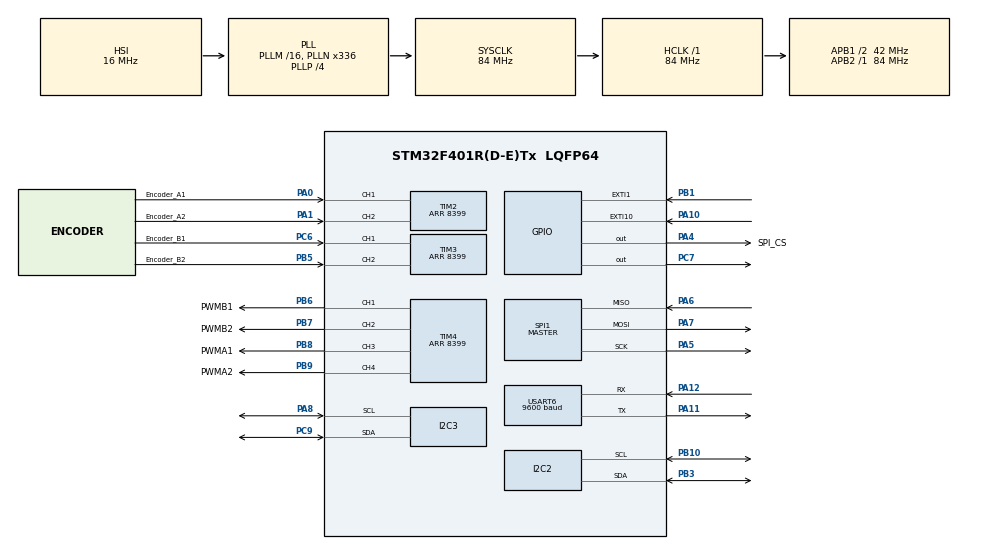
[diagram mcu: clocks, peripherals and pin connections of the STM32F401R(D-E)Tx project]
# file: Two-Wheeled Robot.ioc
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Mcu.Family=STM32F4
Mcu.Name=STM32F401R(D-E)Tx
Mcu.Package=LQFP64
NVIC.EXTI15_10_IRQn=true\:0\:0\:false\:false\:true\:true\:true\:true
NVIC.EXTI1_IRQn=true\:0\:0\:false\:false\:true\:true\:true\:true
NVIC.PriorityGroup=NVIC_PRIORITYGROUP_4
NVIC.TIM1_UP_TIM10_IRQn=true\:0\:0\:false\:false\:true\:true\:true\:true
NVIC.USART6_IRQn=true\:0\:0\:false\:false\:true\:true\:true\:true
PA0-WKUP.GPIO_Label=Encoder_A1
PA0-WKUP.Signal=S_TIM2_CH1_ETR
PA1.GPIO_Label=Encoder_A2
PA1.Signal=S_TIM2_CH2
PA10.GPIO_ModeDefaultEXTI=GPIO_MODE_IT_FALLING
PA10.Signal=GPXTI10
PA11.Mode=Asynchronous
PA11.Signal=USART6_TX
PA12.Mode=Asynchronous
PA12.Signal=USART6_RX
PA13.Mode=Serial_Wire
PA13.Signal=SYS_JTMS-SWDIO
PA14.Mode=Serial_Wire
PA14.Signal=SYS_JTCK-SWCLK
PA4.GPIO_Label=SPI_CS
PA4.Signal=GPIO_Output
PA5.Mode=Full_Duplex_Master
PA5.Signal=SPI1_SCK
PA6.Mode=Full_Duplex_Master
PA6.Signal=SPI1_MISO
PA7.Mode=Full_Duplex_Master
PA7.Signal=SPI1_MOSI
PA8.Mode=I2C
PA8.Signal=I2C3_SCL
PB1.GPIO_ModeDefaultEXTI=GPIO_MODE_IT_FALLING
PB1.Signal=GPXTI1
PB10.Mode=I2C
PB10.Signal=I2C2_SCL
PB3.Mode=I2C
PB3.Signal=I2C2_SDA
PB5.GPIO_Label=Encoder_B2
PB5.Signal=S_TIM3_CH2
PB6.GPIO_Label=PWMB1
PB6.Signal=S_TIM4_CH1
PB7.GPIO_Label=PWMB2
PB7.Signal=S_TIM4_CH2
PB8.GPIO_Label=PWMA1
PB8.Signal=S_TIM4_CH3
PB9.GPIO_Label=PWMA2
PB9.Signal=S_TIM4_CH4
PC14-OSC32_IN.Mode=LSE-External-Oscillator
PC14-OSC32_IN.Signal=RCC_OSC32_IN
PC15-OSC32_OUT.Mode=LSE-External-Oscillator
PC15-OSC32_OUT.Signal=RCC_OSC32_OUT
PC6.GPIO_Label=Encoder_B1
PC6.Signal=S_TIM3_CH1
PC7.Signal=GPIO_Output
PC9.Mode=I2C
PC9.Signal=I2C3_SDA
ProjectManager.HeapSize=0x200
ProjectManager.StackSize=0x400
ProjectManager.TargetToolchain=STM32CubeIDE
RCC.48MHZClocksFreq_Value=84000000
RCC.AHBFreq_Value=84000000
RCC.APB1CLKDivider=RCC_HCLK_DIV2
RCC.APB1Freq_Value=42000000
RCC.APB1TimFreq_Value=84000000
RCC.APB2Freq_Value=84000000
RCC.APB2TimFreq_Value=84000000
RCC.CortexFreq_Value=84000000
RCC.HCLKFreq_Value=84000000
RCC.HSE_VALUE=25000000
RCC.HSI_VALUE=16000000
RCC.PLLN=336
RCC.PLLP=RCC_PLLP_DIV4
RCC.SYSCLKFreq_VALUE=84000000
RCC.SYSCLKSource=RCC_SYSCLKSOURCE_PLLCLK
RCC.VCOOutputFreq_Value=336000000
SH.S_TIM2_CH1_ETR.0=TIM2_CH1,Encoder_Interface
SH.S_TIM2_CH2.0=TIM2_CH2,Encoder_Interface
SH.S_TIM3_CH1.0=TIM3_CH1,Encoder_Interface
SH.S_TIM3_CH2.0=TIM3_CH2,Encoder_Interface
SH.S_TIM4_CH1.0=TIM4_CH1,PWM Generation1 CH1
SH.S_TIM4_CH2.0=TIM4_CH2,PWM Generation2 CH2
SH.S_TIM4_CH3.0=TIM4_CH3,PWM Generation3 CH3
SH.S_TIM4_CH4.0=TIM4_CH4,PWM Generation4 CH4
SPI1.BaudRatePrescaler=SPI_BAUDRATEPRESCALER_128
SPI1.CLKPhase=SPI_PHASE_2EDGE
SPI1.CLKPolarity=SPI_POLARITY_HIGH
SPI1.CRCCalculation=SPI_CRCCALCULATION_DISABLE
SPI1.Direction=SPI_DIRECTION_2LINES
SPI1.Mode=SPI_MODE_MASTER
SPI1.VirtualType=VM_MASTER
TIM1.Channel-PWM\ Generation1\ CH1=TIM_CHANNEL_1
TIM1.Period=999
TIM1.Prescaler=84-1
TIM2.EncoderMode=TIM_ENCODERMODE_TI12
TIM2.Period=8399
TIM3.Channel-PWM\ Generation3\ CH3=TIM_CHANNEL_3
TIM3.EncoderMode=TIM_ENCODERMODE_TI12
TIM3.Period=8399
TIM4.Channel-PWM\ Generation1\ CH1=TIM_CHANNEL_1
TIM4.Channel-PWM\ Generation2\ CH2=TIM_CHANNEL_2
TIM4.Channel-PWM\ Generation3\ CH3=TIM_CHANNEL_3
TIM4.Channel-PWM\ Generation4\ CH4=TIM_CHANNEL_4
TIM4.Period=8399
USART6.BaudRate=9600
USART6.VirtualMode=VM_ASYNC
VP_TIM1_VS_ClockSourceINT.Mode=Internal
VP_TIM4_VS_ClockSourceINT.Mode=Internal
board=custom

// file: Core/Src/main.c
/* USER CODE BEGIN Header */
/**
  ******************************************************************************
  * @file           : main.c
  * @brief          : Main program body
  ******************************************************************************
  * @attention
  *
  * Copyright (c) 2025 STMicroelectronics.
  * All rights reserved.
  *
  * This software is licensed under terms that can be found in the LICENSE file
  * in the root directory of this software component.
  * If no LICENSE file comes with this software, it is provided AS-IS.
  *
  ******************************************************************************
  */
/* USER CODE END Header */
#include "main.h"

/* USER CODE BEGIN Includes */
#include "math.h"
#include "string.h"
#include "stdio.h"
#include "ssd1306.h"
#include "motor_driver.h"
#include "mpu6500.h"
#include "pid_balance.h"  // 添加PD控制器头文件
#include "pid_speed.h"  // 添加PI速度控制器头文件
#include "pid_turn.h"   // 添加PD转向控制器头文件
#include "ultrasonic.h"  // 添加超声波模块头文件
/* USER CODE END Includes */

I2C_HandleTypeDef hi2c2;
I2C_HandleTypeDef hi2c3;

SPI_HandleTypeDef hspi1;

TIM_HandleTypeDef htim1;
TIM_HandleTypeDef htim2;
TIM_HandleTypeDef htim3;
TIM_HandleTypeDef htim4;

UART_HandleTypeDef huart6;

/* USER CODE BEGIN PV */
volatile uint8_t timer_flag = 0;

uint16_t refresh_interval = 100;  // Screen refresh interval in ms
uint16_t send_interval = 500;     // Bluetooth send interval in ms

volatile uint8_t send_flag = 1;  // 1: 发送数据, 0: 停止发送

uint8_t bluetooth_rx_data;

// 电机控制相关变量
int16_t motor_left_speed;   // 左电机速度百分比 (-100 to 100)
int16_t motor_right_speed;  // 右电机速度百分比 (-100 to 100)

// 平衡控制相关变量
volatile uint8_t balance_start = 0;  // 平衡控制启动标志
float target_angle = 0.0f;          // 目标角度

// 障碍检测相关变量
#define OBSTACLE_THRESHOLD_MM 300    // 障碍检测距离阈值：300mm
volatile uint8_t obstacle_detected = 0;  // 障碍检测标志
volatile uint8_t turning_left = 0;       // 左转标志
float original_target_yaw = 0.0f;        // 原始目标偏航角
float turn_target_yaw = 0.0f;           // 转向目标偏航角（左转30度后的角度）
uint32_t turn_start_time = 0;           // 转向开始时间
uint32_t max_turn_duration = 3000;      // 最大转向持续时间（毫秒）
/* USER CODE END PV */

void SystemClock_Config(void);
static void MX_GPIO_Init(void);
static void MX_SPI1_Init(void);
static void MX_TIM1_Init(void);
static void MX_USART6_UART_Init(void);
static void MX_TIM2_Init(void);
static void MX_TIM3_Init(void);
static void MX_TIM4_Init(void);
static void MX_I2C3_Init(void);
static void MX_I2C2_Init(void);

/* USER CODE BEGIN 0 */
// Send AT command to HC-05
void send_at_command(const char *command) {
    HAL_UART_Transmit(&huart6, (uint8_t*)command, strlen(command), HAL_MAX_DELAY);
}

void send_imu_data(void)
{
    char buffer[100];
    imu_t* imu = MPU6500_GetIMUData();
    sprintf(buffer, "ax: %.2f, ay: %.2f, az: %.2f, roll: %.2f, pitch: %.2f, yaw: %.2f\r\n",
            imu->ax, imu->ay, imu->az,
            imu->rol, imu->pit, imu->yaw);
    HAL_UART_Transmit(&huart6, (uint8_t*)buffer, strlen(buffer), HAL_MAX_DELAY);
}

void HAL_GPIO_EXTI_Callback(uint16_t GPIO_Pin) {
	if (GPIO_Pin == GPIO_PIN_1) { // PB1, the up button
		MPU6500_InitStructures();
	}
}

void HAL_UART_RxCpltCallback(UART_HandleTypeDef *huart)
{
    if (huart->Instance == USART6) {
        if (bluetooth_rx_data == 'b' && !balance_start) {
            // 收到'b'字符且当前未启动平衡控制时，记录当前角度作为目标角度并启动平衡
            target_angle = Pitch_dmp;
            balance_start = 1;

            // 发送确认信息
            char buffer[50];
            sprintf(buffer, "Balance start, target: %.2f\r\n", target_angle);
            HAL_UART_Transmit(&huart6, (uint8_t*)buffer, strlen(buffer), HAL_MAX_DELAY);
        } else if (bluetooth_rx_data == 's') {
            // 收到's'字符时停止平衡控制
            balance_start = 0;
            Motor_Stop();

            // 发送确认信息
            char *msg = "Balance stopped\r\n";
            HAL_UART_Transmit(&huart6, (uint8_t*)msg, strlen(msg), HAL_MAX_DELAY);
        } else {
            // 检查是否为速度控制命令 (u,j,i,k,v)
            if (bluetooth_rx_data == 'u' || bluetooth_rx_data == 'j' ||
                bluetooth_rx_data == 'i' || bluetooth_rx_data == 'k' ||
                bluetooth_rx_data == 'v') {
                PI_Speed_ProcessCommand(bluetooth_rx_data);
            } else if (bluetooth_rx_data == 'r' || bluetooth_rx_data == 'f' ||
                       bluetooth_rx_data == 't' || bluetooth_rx_data == 'g' ||
                       bluetooth_rx_data == 'n') {
                // 转向控制命令 (r,f,t,g,n)
                PD_Turn_ProcessCommand(bluetooth_rx_data);
            } else {
                // 其他字符作为平衡控制参数调整命令处理
                PD_Balance_ProcessCommand(bluetooth_rx_data);
            }
        }

        // 继续接收下一个字符
        HAL_UART_Receive_IT(&huart6, &bluetooth_rx_data, 1);
    }
}

// 超声波输入捕获中断回调函数
void HAL_TIM_IC_CaptureCallback(TIM_HandleTypeDef *htim) {
    // 调用超声波模块的回调函数
    Ultrasonic_TIM_IC_CaptureCallback(htim);
}

/* USER CODE END 0 */

int main(void)
{

  /* MCU Configuration--------------------------------------------------------*/

  /* Reset of all peripherals, Initializes the Flash interface and the Systick. */
  HAL_Init();

  /* Configure the system clock */
  SystemClock_Config();

  /* Initialize all configured peripherals */
  MX_GPIO_Init();
  MX_SPI1_Init();
  MX_TIM1_Init();
  MX_USART6_UART_Init();
  MX_TIM2_Init();
  MX_TIM3_Init();
  MX_TIM4_Init();
  MX_I2C3_Init();
  MX_I2C2_Init();
  /* USER CODE BEGIN 2 */
  ssd1306_Init(&hi2c3);
  ssd1306_Fill(Black);

  MPU6500_Init();
  MPU6500_InitStructures();

  // Initialize DMP for better quaternion calculation
  HAL_Delay(173);
  DMP_Init_SPI();

  // 初始化PD控制器
  PD_Balance_Init();

  // 初始化PI速度控制器
  PI_Speed_Init();

  // 初始化PD转向控制器
  PD_Turn_Init();

  // 初始化电机驱动
  Motor_Init();

  // 初始化超声波测距模块
  Ultrasonic_Init(&htim4);  // 使用TIM4进行超声波测距
  Ultrasonic_SetSamplingInterval(100);  // 设置采样间隔为100ms

  HAL_TIM_Base_Start_IT(&htim1);
  HAL_GPIO_WritePin(GPIOC, GPIO_PIN_7, GPIO_PIN_SET);

  uint8_t dummy;
  HAL_UART_Receive_IT(&huart6, &dummy, 1);

  uint32_t last_send_time = HAL_GetTick();
  uint32_t last_refresh_time = HAL_GetTick();

  /* USER CODE END 2 */

  /* Infinite loop */
  /* USER CODE BEGIN WHILE */
  while (1)
  {
    uint32_t current_time = HAL_GetTick();

    if(timer_flag)
    {
        MPU6500_UpdateData();
        Read_DMP_SPI();

        // 障碍检测逻辑
        uint32_t distance_mm = Ultrasonic_GetDistanceMM();

        // 检测到障碍物
        if (distance_mm < OBSTACLE_THRESHOLD_MM && distance_mm > 10) {  // 排除无效读数
            if (!obstacle_detected && !turning_left) {
                // 首次检测到障碍，开始左转
                obstacle_detected = 1;
                turning_left = 1;
                original_target_yaw = PD_Turn_GetTargetAngle();  // 保存原始目标角度
                turn_target_yaw = original_target_yaw + 30.0f;   // 设置左转30度目标

                // 处理角度环绕
                if (turn_target_yaw > 180.0f) {
                    turn_target_yaw -= 360.0f;
                }

                PD_Turn_SetTargetAngle(turn_target_yaw);         // 设置新的目标角度
                turn_start_time = HAL_GetTick();                 // 记录转向开始时间
            }
        } else {
            obstacle_detected = 0;  // 没有障碍物，清除检测标志
        }

        // 转向超时处理
        if (turning_left && (HAL_GetTick() - turn_start_time > max_turn_duration)) {
            turning_left = 0;  // 转向超时，停止转向
            PD_Turn_SetTargetAngle(original_target_yaw);  // 恢复原始目标角度
        }

        // 检查转向是否完成（到达目标角度附近）
        if (turning_left) {
            float angle_error = turn_target_yaw - Yaw_dmp;
            // 处理角度跨越±180度的情况
            if (angle_error > 180.0f) {
                angle_error -= 360.0f;
            } else if (angle_error < -180.0f) {
                angle_error += 360.0f;
            }

            // 如果角度误差小于5度，认为转向完成
            if (fabs(angle_error) < 5.0f) {
                turning_left = 0;  // 转向完成
                PD_Turn_SetTargetAngle(turn_target_yaw);  // 保持新的角度作为目标
            }
        }

        if (balance_start) {
            // 更新编码器数据
            Encoder_Update();

            // 获取编码器数据，右编码器取反以匹配motor_driver的处理
            EncoderData_t encoder_data = Encoder_GetData();
            float left_rpm = encoder_data.left_speed_rpm;
            float right_rpm = -encoder_data.right_speed_rpm;  // 右编码器读数取反
            float current_speed = (left_rpm + right_rpm) / 2.0f;

            // 获取目标速度
            float target_speed = PI_Speed_GetTargetSpeed();

            // 计算平衡控制速度值 (-100 to 100)
            int16_t balance_speed = PD_Balance_Calculate(Pitch_dmp - target_angle, 0);

            // 计算速度控制修正值
            int16_t speed_correction = PI_Speed_Calculate(current_speed, target_speed);

            // 计算转向控制输出
            float target_angle = PD_Turn_GetTargetAngle();
            int16_t turn_output = PD_Turn_Calculate(target_angle, Yaw_dmp);

            // 合成最终电机速度
            motor_left_speed = balance_speed + speed_correction + turn_output;
            motor_right_speed = balance_speed + speed_correction - turn_output;

            // 限制速度范围
            motor_left_speed = CLAMP(motor_left_speed, -100, 100);
            motor_right_speed = CLAMP(motor_right_speed, -100, 100);

            // 安全检查
            if (!PD_Balance_IsDangerous(Pitch_dmp - target_angle)) {
                Motor_SetSpeeds(motor_left_speed, motor_right_speed);
            } else {
                Motor_Stop();
                balance_start = 0;  // 危险角度时停止平衡控制
            }
        }

        timer_flag = 0;
    }

    // 0.1秒刷新一次屏幕显示
    if (current_time - last_refresh_time >= 100) {
        char display_str1[20];
        char display_str2[20];
        char display_str3[20];
        char display_str4[20];
        float kp, kd;

        // 获取当前PD参数
        PD_Balance_GetParams(&kp, &kd);

        // 清屏
        ssd1306_Fill(Black);

        // 显示角度和参数
        sprintf(display_str1, "Pitch: %.2f", Pitch_dmp);
        sprintf(display_str2, "Speed: %d,%d", motor_left_speed, motor_right_speed);
        //sprintf(display_str3, "Kp: %.0f", kp);
        //sprintf(display_str4, "Kd: %.0f", kd);

        ssd1306_SetCursor(0, 0);
        ssd1306_WriteString(display_str1, Font_7x10, White);
        ssd1306_SetCursor(0, 12);
        ssd1306_WriteString(display_str2, Font_7x10, White);
        /*ssd1306_SetCursor(0, 24);
        ssd1306_WriteString(display_str3, Font_7x10, White);
        ssd1306_SetCursor(0, 36);
        ssd1306_WriteString(display_str4, Font_7x10, White);*/

        ssd1306_UpdateScreen(&hi2c3);

        last_refresh_time = current_time;
    }

    // 0.5秒通过蓝牙发送一次数据
    if (current_time - last_send_time >= 500) {
        char buffer[250];
        float balance_kp, balance_kd;
        float speed_kp, speed_ki;
        float turn_kp, turn_kd;
        PD_Balance_GetParams(&balance_kp, &balance_kd);
        PI_Speed_GetParams(&speed_kp, &speed_ki);
        PD_Turn_GetParams(&turn_kp, &turn_kd);

        // 获取编码器数据
        EncoderData_t encoder_data = Encoder_GetData();
        float target_speed = PI_Speed_GetTargetSpeed();
        float target_angle = PD_Turn_GetTargetAngle();

        // 获取距离和障碍检测状态
        uint32_t distance_mm = Ultrasonic_GetDistanceMM();

        sprintf(buffer, "Pitch:%.2f BKp:%.0f BKd:%.0f SKp:%.1f SKi:%.2f TKp:%.0f TKd:%.0f Target:%.1f Angle:%.1f Speed:%d,%d RPM:%.1f,%.1f Dist:%ldmm Obs:%d Turn:%d\r\n",
                Pitch_dmp, balance_kp, balance_kd, speed_kp, speed_ki, turn_kp, turn_kd, target_speed, target_angle,
                motor_left_speed, motor_right_speed,
                encoder_data.left_speed_rpm, -encoder_data.right_speed_rpm,
                distance_mm, obstacle_detected, turning_left);
        HAL_UART_Transmit(&huart6, (uint8_t*)buffer, strlen(buffer), HAL_MAX_DELAY);

        last_send_time = current_time;
    }

    /* USER CODE END WHILE */

  }
}

void SystemClock_Config(void)
{
  RCC_OscInitTypeDef RCC_OscInitStruct = {0};
  RCC_ClkInitTypeDef RCC_ClkInitStruct = {0};

  /** Configure the main internal regulator output voltage
  */
  __HAL_RCC_PWR_CLK_ENABLE();
  __HAL_PWR_VOLTAGESCALING_CONFIG(PWR_REGULATOR_VOLTAGE_SCALE2);

  /** Initializes the RCC Oscillators according to the specified parameters
  * in the RCC_OscInitTypeDef structure.
  */
  RCC_OscInitStruct.OscillatorType = RCC_OSCILLATORTYPE_HSI;
  RCC_OscInitStruct.HSIState = RCC_HSI_ON;
  RCC_OscInitStruct.HSICalibrationValue = RCC_HSICALIBRATION_DEFAULT;
  RCC_OscInitStruct.PLL.PLLState = RCC_PLL_ON;
  RCC_OscInitStruct.PLL.PLLSource = RCC_PLLSOURCE_HSI;
  RCC_OscInitStruct.PLL.PLLM = 16;
  RCC_OscInitStruct.PLL.PLLN = 336;
  RCC_OscInitStruct.PLL.PLLP = RCC_PLLP_DIV4;
  RCC_OscInitStruct.PLL.PLLQ = 4;
  if (HAL_RCC_OscConfig(&RCC_OscInitStruct) != HAL_OK)
  {
    Error_Handler();
  }

  /** Initializes the CPU, AHB and APB buses clocks
  */
  RCC_ClkInitStruct.ClockType = RCC_CLOCKTYPE_HCLK|RCC_CLOCKTYPE_SYSCLK
                              |RCC_CLOCKTYPE_PCLK1|RCC_CLOCKTYPE_PCLK2;
  RCC_ClkInitStruct.SYSCLKSource = RCC_SYSCLKSOURCE_PLLCLK;
  RCC_ClkInitStruct.AHBCLKDivider = RCC_SYSCLK_DIV1;
  RCC_ClkInitStruct.APB1CLKDivider = RCC_HCLK_DIV2;
  RCC_ClkInitStruct.APB2CLKDivider = RCC_HCLK_DIV1;

  if (HAL_RCC_ClockConfig(&RCC_ClkInitStruct, FLASH_LATENCY_2) != HAL_OK)
  {
    Error_Handler();
  }
}

static void MX_I2C2_Init(void)
{

  hi2c2.Instance = I2C2;
  hi2c2.Init.ClockSpeed = 100000;
  hi2c2.Init.DutyCycle = I2C_DUTYCYCLE_2;
  hi2c2.Init.OwnAddress1 = 0;
  hi2c2.Init.AddressingMode = I2C_ADDRESSINGMODE_7BIT;
  hi2c2.Init.DualAddressMode = I2C_DUALADDRESS_DISABLE;
  hi2c2.Init.OwnAddress2 = 0;
  hi2c2.Init.GeneralCallMode = I2C_GENERALCALL_DISABLE;
  hi2c2.Init.NoStretchMode = I2C_NOSTRETCH_DISABLE;
  if (HAL_I2C_Init(&hi2c2) != HAL_OK)
  {
    Error_Handler();
  }

}

static void MX_I2C3_Init(void)
{

  hi2c3.Instance = I2C3;
  hi2c3.Init.ClockSpeed = 100000;
  hi2c3.Init.DutyCycle = I2C_DUTYCYCLE_2;
  hi2c3.Init.OwnAddress1 = 0;
  hi2c3.Init.AddressingMode = I2C_ADDRESSINGMODE_7BIT;
  hi2c3.Init.DualAddressMode = I2C_DUALADDRESS_DISABLE;
  hi2c3.Init.OwnAddress2 = 0;
  hi2c3.Init.GeneralCallMode = I2C_GENERALCALL_DISABLE;
  hi2c3.Init.NoStretchMode = I2C_NOSTRETCH_DISABLE;
  if (HAL_I2C_Init(&hi2c3) != HAL_OK)
  {
    Error_Handler();
  }

}

static void MX_SPI1_Init(void)
{

  /* SPI1 parameter configuration*/
  hspi1.Instance = SPI1;
  hspi1.Init.Mode = SPI_MODE_MASTER;
  hspi1.Init.Direction = SPI_DIRECTION_2LINES;
  hspi1.Init.DataSize = SPI_DATASIZE_8BIT;
  hspi1.Init.CLKPolarity = SPI_POLARITY_HIGH;
  hspi1.Init.CLKPhase = SPI_PHASE_2EDGE;
  hspi1.Init.NSS = SPI_NSS_SOFT;
  hspi1.Init.BaudRatePrescaler = SPI_BAUDRATEPRESCALER_128;
  hspi1.Init.FirstBit = SPI_FIRSTBIT_MSB;
  hspi1.Init.TIMode = SPI_TIMODE_DISABLE;
  hspi1.Init.CRCCalculation = SPI_CRCCALCULATION_DISABLE;
  hspi1.Init.CRCPolynomial = 10;
  if (HAL_SPI_Init(&hspi1) != HAL_OK)
  {
    Error_Handler();
  }

}

static void MX_TIM1_Init(void)
{

  TIM_ClockConfigTypeDef sClockSourceConfig = {0};
  TIM_MasterConfigTypeDef sMasterConfig = {0};

  htim1.Instance = TIM1;
  htim1.Init.Prescaler = 84-1;
  htim1.Init.CounterMode = TIM_COUNTERMODE_UP;
  htim1.Init.Period = 999;
  htim1.Init.ClockDivision = TIM_CLOCKDIVISION_DIV1;
  htim1.Init.RepetitionCounter = 0;
  htim1.Init.AutoReloadPreload = TIM_AUTORELOAD_PRELOAD_DISABLE;
  if (HAL_TIM_Base_Init(&htim1) != HAL_OK)
  {
    Error_Handler();
  }
  sClockSourceConfig.ClockSource = TIM_CLOCKSOURCE_INTERNAL;
  if (HAL_TIM_ConfigClockSource(&htim1, &sClockSourceConfig) != HAL_OK)
  {
    Error_Handler();
  }
  sMasterConfig.MasterOutputTrigger = TIM_TRGO_RESET;
  sMasterConfig.MasterSlaveMode = TIM_MASTERSLAVEMODE_DISABLE;
  if (HAL_TIMEx_MasterConfigSynchronization(&htim1, &sMasterConfig) != HAL_OK)
  {
    Error_Handler();
  }

}

static void MX_TIM2_Init(void)
{

  TIM_Encoder_InitTypeDef sConfig = {0};
  TIM_MasterConfigTypeDef sMasterConfig = {0};

  htim2.Instance = TIM2;
  htim2.Init.Prescaler = 0;
  htim2.Init.CounterMode = TIM_COUNTERMODE_UP;
  htim2.Init.Period = 8399;
  htim2.Init.ClockDivision = TIM_CLOCKDIVISION_DIV1;
  htim2.Init.AutoReloadPreload = TIM_AUTORELOAD_PRELOAD_DISABLE;
  sConfig.EncoderMode = TIM_ENCODERMODE_TI12;
  sConfig.IC1Polarity = TIM_ICPOLARITY_RISING;
  sConfig.IC1Selection = TIM_ICSELECTION_DIRECTTI;
  sConfig.IC1Prescaler = TIM_ICPSC_DIV1;
  sConfig.IC1Filter = 0;
  sConfig.IC2Polarity = TIM_ICPOLARITY_RISING;
  sConfig.IC2Selection = TIM_ICSELECTION_DIRECTTI;
  sConfig.IC2Prescaler = TIM_ICPSC_DIV1;
  sConfig.IC2Filter = 0;
  if (HAL_TIM_Encoder_Init(&htim2, &sConfig) != HAL_OK)
  {
    Error_Handler();
  }
  sMasterConfig.MasterOutputTrigger = TIM_TRGO_RESET;
  sMasterConfig.MasterSlaveMode = TIM_MASTERSLAVEMODE_DISABLE;
  if (HAL_TIMEx_MasterConfigSynchronization(&htim2, &sMasterConfig) != HAL_OK)
  {
    Error_Handler();
  }

}

static void MX_TIM3_Init(void)
{

  TIM_Encoder_InitTypeDef sConfig = {0};
  TIM_MasterConfigTypeDef sMasterConfig = {0};

  htim3.Instance = TIM3;
  htim3.Init.Prescaler = 0;
  htim3.Init.CounterMode = TIM_COUNTERMODE_UP;
  htim3.Init.Period = 8399;
  htim3.Init.ClockDivision = TIM_CLOCKDIVISION_DIV1;
  htim3.Init.AutoReloadPreload = TIM_AUTORELOAD_PRELOAD_DISABLE;
  sConfig.EncoderMode = TIM_ENCODERMODE_TI12;
  sConfig.IC1Polarity = TIM_ICPOLARITY_RISING;
  sConfig.IC1Selection = TIM_ICSELECTION_DIRECTTI;
  sConfig.IC1Prescaler = TIM_ICPSC_DIV1;
  sConfig.IC1Filter = 0;
  sConfig.IC2Polarity = TIM_ICPOLARITY_RISING;
  sConfig.IC2Selection = TIM_ICSELECTION_DIRECTTI;
  sConfig.IC2Prescaler = TIM_ICPSC_DIV1;
  sConfig.IC2Filter = 0;
  if (HAL_TIM_Encoder_Init(&htim3, &sConfig) != HAL_OK)
  {
    Error_Handler();
  }
  sMasterConfig.MasterOutputTrigger = TIM_TRGO_RESET;
  sMasterConfig.MasterSlaveMode = TIM_MASTERSLAVEMODE_DISABLE;
  if (HAL_TIMEx_MasterConfigSynchronization(&htim3, &sMasterConfig) != HAL_OK)
  {
    Error_Handler();
  }

}

static void MX_TIM4_Init(void)
{

  TIM_ClockConfigTypeDef sClockSourceConfig = {0};
  TIM_MasterConfigTypeDef sMasterConfig = {0};
  TIM_OC_InitTypeDef sConfigOC = {0};

  htim4.Instance = TIM4;
  htim4.Init.Prescaler = 0;
  htim4.Init.CounterMode = TIM_COUNTERMODE_UP;
  htim4.Init.Period = 8399;
  htim4.Init.ClockDivision = TIM_CLOCKDIVISION_DIV1;
  htim4.Init.AutoReloadPreload = TIM_AUTORELOAD_PRELOAD_DISABLE;
  if (HAL_TIM_Base_Init(&htim4) != HAL_OK)
  {
    Error_Handler();
  }
  sClockSourceConfig.ClockSource = TIM_CLOCKSOURCE_INTERNAL;
  if (HAL_TIM_ConfigClockSource(&htim4, &sClockSourceConfig) != HAL_OK)
  {
    Error_Handler();
  }
  if (HAL_TIM_PWM_Init(&htim4) != HAL_OK)
  {
    Error_Handler();
  }
  sMasterConfig.MasterOutputTrigger = TIM_TRGO_RESET;
  sMasterConfig.MasterSlaveMode = TIM_MASTERSLAVEMODE_DISABLE;
  if (HAL_TIMEx_MasterConfigSynchronization(&htim4, &sMasterConfig) != HAL_OK)
  {
    Error_Handler();
  }
  sConfigOC.OCMode = TIM_OCMODE_PWM1;
  sConfigOC.Pulse = 0;
  sConfigOC.OCPolarity = TIM_OCPOLARITY_HIGH;
  sConfigOC.OCFastMode = TIM_OCFAST_DISABLE;
  if (HAL_TIM_PWM_ConfigChannel(&htim4, &sConfigOC, TIM_CHANNEL_1) != HAL_OK)
  {
    Error_Handler();
  }
  if (HAL_TIM_PWM_ConfigChannel(&htim4, &sConfigOC, TIM_CHANNEL_2) != HAL_OK)
  {
    Error_Handler();
  }
  if (HAL_TIM_PWM_ConfigChannel(&htim4, &sConfigOC, TIM_CHANNEL_3) != HAL_OK)
  {
    Error_Handler();
  }
  if (HAL_TIM_PWM_ConfigChannel(&htim4, &sConfigOC, TIM_CHANNEL_4) != HAL_OK)
  {
    Error_Handler();
  }
  HAL_TIM_MspPostInit(&htim4);

}

static void MX_USART6_UART_Init(void)
{

  huart6.Instance = USART6;
  huart6.Init.BaudRate = 9600;
  huart6.Init.WordLength = UART_WORDLENGTH_8B;
  huart6.Init.StopBits = UART_STOPBITS_1;
  huart6.Init.Parity = UART_PARITY_NONE;
  huart6.Init.Mode = UART_MODE_TX_RX;
  huart6.Init.HwFlowCtl = UART_HWCONTROL_NONE;
  huart6.Init.OverSampling = UART_OVERSAMPLING_16;
  if (HAL_UART_Init(&huart6) != HAL_OK)
  {
    Error_Handler();
  }

}

static void MX_GPIO_Init(void)
{
  GPIO_InitTypeDef GPIO_InitStruct = {0};

  /* GPIO Ports Clock Enable */
  __HAL_RCC_GPIOC_CLK_ENABLE();
  __HAL_RCC_GPIOA_CLK_ENABLE();
  __HAL_RCC_GPIOB_CLK_ENABLE();

  /*Configure GPIO pin Output Level */
  HAL_GPIO_WritePin(SPI_CS_GPIO_Port, SPI_CS_Pin, GPIO_PIN_RESET);

  /*Configure GPIO pin Output Level */
  HAL_GPIO_WritePin(GPIOC, GPIO_PIN_7, GPIO_PIN_RESET);

  /*Configure GPIO pin : SPI_CS_Pin */
  GPIO_InitStruct.Pin = SPI_CS_Pin;
  GPIO_InitStruct.Mode = GPIO_MODE_OUTPUT_PP;
  GPIO_InitStruct.Pull = GPIO_NOPULL;
  GPIO_InitStruct.Speed = GPIO_SPEED_FREQ_LOW;
  HAL_GPIO_Init(SPI_CS_GPIO_Port, &GPIO_InitStruct);

  /*Configure GPIO pin : PB1 */
  GPIO_InitStruct.Pin = GPIO_PIN_1;
  GPIO_InitStruct.Mode = GPIO_MODE_IT_FALLING;
  GPIO_InitStruct.Pull = GPIO_NOPULL;
  HAL_GPIO_Init(GPIOB, &GPIO_InitStruct);

  /*Configure GPIO pin : PC7 */
  GPIO_InitStruct.Pin = GPIO_PIN_7;
  GPIO_InitStruct.Mode = GPIO_MODE_OUTPUT_PP;
  GPIO_InitStruct.Pull = GPIO_NOPULL;
  GPIO_InitStruct.Speed = GPIO_SPEED_FREQ_LOW;
  HAL_GPIO_Init(GPIOC, &GPIO_InitStruct);

  /*Configure GPIO pin : PA10 */
  GPIO_InitStruct.Pin = GPIO_PIN_10;
  GPIO_InitStruct.Mode = GPIO_MODE_IT_FALLING;
  GPIO_InitStruct.Pull = GPIO_NOPULL;
  HAL_GPIO_Init(GPIOA, &GPIO_InitStruct);

  /* EXTI interrupt init*/
  HAL_NVIC_SetPriority(EXTI1_IRQn, 0, 0);
  HAL_NVIC_EnableIRQ(EXTI1_IRQn);

  HAL_NVIC_SetPriority(EXTI15_10_IRQn, 0, 0);
  HAL_NVIC_EnableIRQ(EXTI15_10_IRQn);

}

/* USER CODE BEGIN 4 */
void HAL_TIM_PeriodElapsedCallback(TIM_HandleTypeDef *htim)
{
	if (htim == &htim1)
	{
		timer_flag = 1;
	}
}
int _write(int file, char *ptr, int len)
{
	int DataIdx;

	for (DataIdx = 0; DataIdx < len; DataIdx++)
	{
		ITM_SendChar(*ptr++);
	}
	return len;
}
/* USER CODE END 4 */

void Error_Handler(void)
{
  __disable_irq();
  while (1)
  {
  }
}
